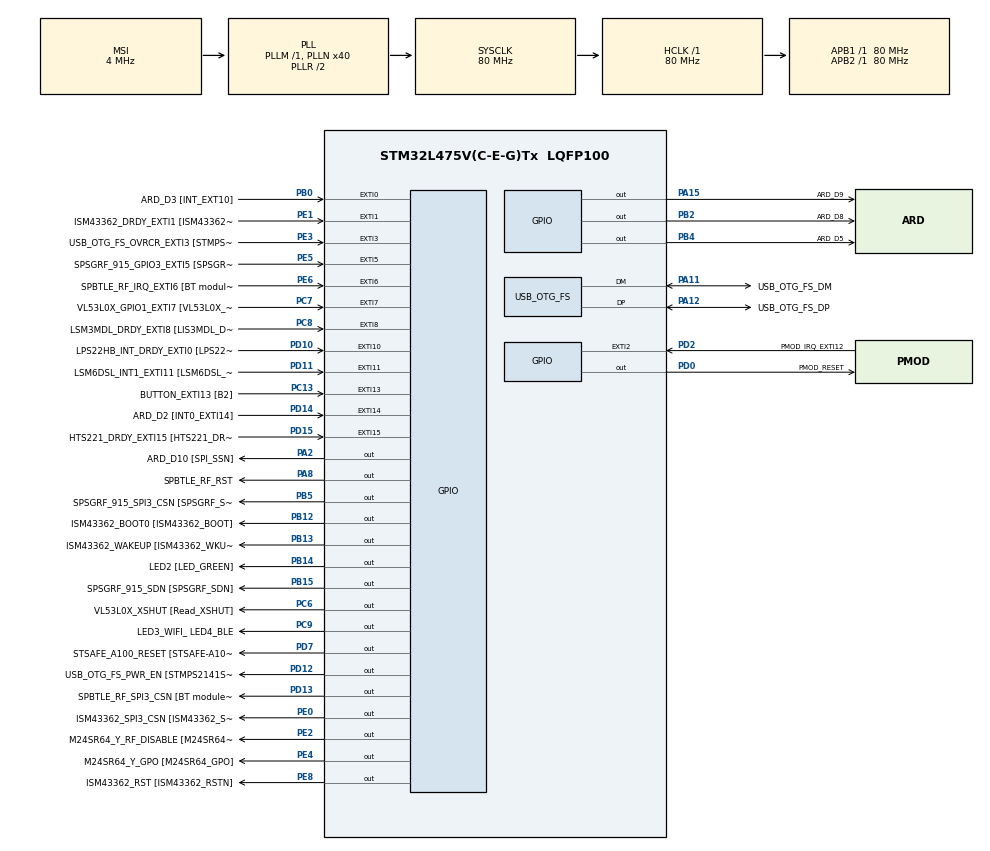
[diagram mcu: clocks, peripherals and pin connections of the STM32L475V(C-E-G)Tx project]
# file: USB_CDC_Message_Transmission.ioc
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Mcu.Family=STM32L4
Mcu.Name=STM32L475V(C-E-G)Tx
Mcu.Package=LQFP100
NVIC.EXTI15_10_IRQn=true\:0\:0\:false\:false\:true\:true\:true
NVIC.EXTI9_5_IRQn=true\:0\:0\:false\:false\:true\:true\:true
NVIC.OTG_FS_IRQn=true\:0\:0\:false\:false\:true\:false\:true
NVIC.PriorityGroup=NVIC_PRIORITYGROUP_4
PA0.GPIO_Label=ARD_D1 [UART4_TX]
PA0.Signal=UART4_TX
PA1.GPIO_Label=ARD_D0 [UART4_RX]
PA1.Signal=UART4_RX
PA10.GPIO_Label=USB_OTG_FS_ID
PA10.Signal=USB_OTG_FS_ID
PA11.GPIO_Label=USB_OTG_FS_DM
PA11.Mode=Device_Only
PA11.Signal=USB_OTG_FS_DM
PA12.GPIO_Label=USB_OTG_FS_DP
PA12.Mode=Device_Only
PA12.Signal=USB_OTG_FS_DP
PA13\ (JTMS-SWDIO).GPIO_Label=SYS_JTMS_SWDIO
PA13\ (JTMS-SWDIO).Signal=SYS_JTMS-SWDIO
PA14\ (JTCK-SWCLK).GPIO_Label=SYS_JTCK_SWCLK
PA14\ (JTCK-SWCLK).Signal=SYS_JTCK-SWCLK
PA15\ (JTDI).GPIO_Label=ARD_D9
PA15\ (JTDI).Signal=GPIO_Output
PA2.GPIO_Label=ARD_D10 [SPI_SSN]
PA2.Signal=GPIO_Output
PA3.GPIO_Label=ARD_D4
PA3.Signal=S_TIM2_CH4
PA4.GPIO_Label=ARD_D7
PA4.Signal=ADCx_IN9
PA5.GPIO_Label=ARD_D13 [SPI1_SCK]
PA5.Signal=SPI1_SCK
PA6.GPIO_Label=ARD_D12 [SPI1_MISO]
PA6.Signal=SPI1_MISO
PA7.GPIO_Label=ARD_D11 [SPI1_MOSI]
PA7.Signal=SPI1_MOSI
PA8.GPIO_Label=SPBTLE_RF_RST
PA8.Signal=GPIO_Output
PA9.GPIO_Label=USB_OTG_FS_VBUS [STMPS2141STR_OUT]
PA9.Signal=USB_OTG_FS_VBUS
PB0.GPIO_Label=ARD_D3 [INT_EXT10]
PB0.Signal=GPXTI0
PB1.GPIO_Label=ARD_D6 [ADC1_IN6]
PB1.Signal=ADCx_IN16
PB10.GPIO_Label=INTERNAL_I2C2_SCL [VL53L0X_SCL]
PB10.Signal=I2C2_SCL
PB11.GPIO_Label=INTERNAL_I2C2_SDA [VL53L0X_SDA]
PB11.Signal=I2C2_SDA
PB12.GPIO_Label=ISM43362_BOOT0 [ISM43362_BOOT]
PB12.Signal=GPIO_Output
PB13.GPIO_Label=ISM43362_WAKEUP [ISM43362_WKUP]
PB13.Signal=GPIO_Output
PB14.GPIO_Label=LED2 [LED_GREEN]
PB14.Signal=GPIO_Output
PB15.GPIO_Label=SPSGRF_915_SDN [SPSGRF_SDN]
PB15.Signal=GPIO_Output
PB2.GPIO_Label=ARD_D8
PB2.Signal=GPIO_Output
PB3\ (JTDO-TRACESWO).GPIO_Label=SYS_JTD0_SWO
PB3\ (JTDO-TRACESWO).Signal=SYS_JTDO-SWO
PB4\ (NJTRST).GPIO_Label=ARD_D5
PB4\ (NJTRST).Signal=GPIO_Output
PB5.GPIO_Label=SPSGRF_915_SPI3_CSN [SPSGRF_SPI_CS]
PB5.PinState=GPIO_PIN_SET
PB5.Signal=GPIO_Output
PB6.GPIO_Label=ST_LINK_UART1_TX
PB6.Signal=USART1_TX
PB7.GPIO_Label=ST_LINK_UART1_RX
PB7.Signal=USART1_RX
PB8.GPIO_Label=ARD_D15 [I2C1_SCL]
PB8.Signal=I2C1_SCL
PB9.GPIO_Label=ARD_D14 [I2C1_SDA]
PB9.Signal=I2C1_SDA
PC0.GPIO_Label=ARD_A5 [ADC]
PC0.Signal=ADCx_IN1
PC1.GPIO_Label=ARD_A4 [ADC]
PC1.Signal=ADCx_IN2
PC10.GPIO_Label=INTERNAL_SPI3_SCK [BT module_SPI_SCLK] [ISM43362_SCK]
PC10.Signal=SPI3_SCK
PC11.GPIO_Label=INTERNAL_SPI3_MISO [BT module_SPI_MISO] [ISM43362_MISO]
PC11.Signal=SPI3_MISO
PC12.GPIO_Label=INTERNAL_SPI3_MOSI [BT module_SPI_MOSI] [ISM43362_MOSI]
PC12.Signal=SPI3_MOSI
PC13.GPIO_Label=BUTTON_EXTI13 [B2]
PC13.GPIO_ModeDefaultEXTI=GPIO_MODE_IT_FALLING
PC13.Signal=GPXTI13
PC14-OSC32_IN\ (PC14).Signal=RCC_OSC32_IN
PC15-OSC32_OUT\ (PC15).Signal=RCC_OSC32_OUT
PC2.GPIO_Label=ARD_A3 [ADC]
PC2.Signal=ADCx_IN3
PC3.GPIO_Label=ARD_A2 [ADC]
PC3.Signal=ADCx_IN4
PC4.GPIO_Label=ARD_A1 [ADC]
PC4.Signal=ADCx_IN13
PC5.GPIO_Label=ARD_A0 [ADC]
PC5.Signal=ADCx_IN14
PC6.GPIO_Label=VL53L0X_XSHUT [Read_XSHUT]
PC6.Signal=GPIO_Output
PC7.GPIO_Label=VL53L0X_GPIO1_EXTI7 [VL53L0X_GPIO1]
PC7.Signal=GPXTI7
PC8.GPIO_Label=LSM3MDL_DRDY_EXTI8 [LIS3MDL_DRDY]
PC8.Signal=GPXTI8
PC9.GPIO_Label=LED3_WIFI_ LED4_BLE
PC9.Signal=GPIO_Output
PD0.GPIO_Label=PMOD_RESET
PD0.Signal=GPIO_Output
PD1.GPIO_Label=PMOD_SPI2_SCK
PD1.Signal=SPI2_SCK
PD10.GPIO_Label=LPS22HB_INT_DRDY_EXTI0 [LPS22HB_INT_DRDY] 
PD10.Signal=GPXTI10
PD11.GPIO_Label=LSM6DSL_INT1_EXTI11 [LSM6DSL_INT1]
PD11.Signal=GPXTI11
PD12.GPIO_Label=USB_OTG_FS_PWR_EN [STMPS2141STR_EN]
PD12.Signal=GPIO_Output
PD13.GPIO_Label=SPBTLE_RF_SPI3_CSN [BT module_SPI_CS]
PD13.PinState=GPIO_PIN_SET
PD13.Signal=GPIO_Output
PD14.GPIO_Label=ARD_D2 [INT0_EXTI14]
PD14.Signal=GPXTI14
PD15.GPIO_Label=HTS221_DRDY_EXTI15 [HTS221_DRDY]
PD15.Signal=GPXTI15
PD2.GPIO_Label=PMOD_IRQ_EXTI12
PD2.Signal=GPXTI2
PD3.GPIO_Label=PMOD_UART2_CTS
PD3.Signal=USART2_CTS
PD4.GPIO_Label=PMOD_UART2_RTS
PD4.Signal=USART2_RTS
PD5.GPIO_Label=PMOD_UART2_TX
PD5.Signal=USART2_TX
PD6.GPIO_Label=PMOD_UART2_RX
PD6.Signal=USART2_RX
PD7.GPIO_Label=STSAFE_A100_RESET [STSAFE-A100_RESET]
PD7.Signal=GPIO_Output
PD8.GPIO_Label=INTERNAL_UART3_TX [ISM43362_RX]
PD8.Signal=USART3_TX
PD9.GPIO_Label=INTERNAL_UART3_RX [ISM43362_TX]
PD9.Signal=USART3_RX
PE0.GPIO_Label=ISM43362_SPI3_CSN [ISM43362_SSN]
PE0.PinState=GPIO_PIN_SET
PE0.Signal=GPIO_Output
PE1.GPIO_Label=ISM43362_DRDY_EXTI1 [ISM43362_DATARDY]
PE1.Signal=GPXTI1
PE10.GPIO_Label=QUADSPI_CLK [MX25R6435F_SCLK]
PE10.Signal=QUADSPI_CLK
PE11.GPIO_Label=QUADSPI_NCS [MX25R6435F_SCLK]
PE11.Signal=QUADSPI_NCS
PE12.GPIO_Label=OQUADSPI_BK1_IO0 [MX25R6435F_IO0]
PE12.Signal=QUADSPI_BK1_IO0
PE13.GPIO_Label=QUADSPI_BK1_IO1 [MX25R6435F_IO1]
PE13.Signal=QUADSPI_BK1_IO1
PE14.GPIO_Label=QUAD_SPI_BK1_IO2 [MX25R6435F_IO2]
PE14.Signal=QUADSPI_BK1_IO2
PE15.GPIO_Label=QUAD_SPI_BK1_IO3 [MX25R6435F_IO3]
PE15.Signal=QUADSPI_BK1_IO3
PE2.GPIO_Label=M24SR64_Y_RF_DISABLE [M24SR64_RFDIS]
PE2.Signal=GPIO_Output
PE3.GPIO_Label=USB_OTG_FS_OVRCR_EXTI3 [STMPS2141STR_FAULT]
PE3.Signal=GPXTI3
PE4.GPIO_Label=M24SR64_Y_GPO [M24SR64_GPO]
PE4.Signal=GPIO_Output
PE5.GPIO_Label=SPSGRF_915_GPIO3_EXTI5 [SPSGRF_GPIO_3]
PE5.Signal=GPXTI5
PE6.GPIO_Label=SPBTLE_RF_IRQ_EXTI6 [BT module_SPI_IRQ]
PE6.Signal=GPXTI6
PE7.GPIO_Label=DFSDM1_DATIN2 [MP34DT01_DOUT]
PE7.Signal=S_DATAIN2DFSDM1
PE8.GPIO_Label=ISM43362_RST [ISM43362_RSTN]
PE8.Signal=GPIO_Output
PE9.GPIO_Label=DFSDM1_CKOUT [MP34DT01_CLK]
PE9.Signal=S_CKOUTDFSDM1
ProjectManager.HeapSize=0x200
ProjectManager.StackSize=0x400
ProjectManager.TargetToolchain=STM32CubeIDE
RCC.ADCFreq_Value=48000000
RCC.AHBFreq_Value=80000000
RCC.APB1Freq_Value=80000000
RCC.APB1TimFreq_Value=80000000
RCC.APB2Freq_Value=80000000
RCC.APB2TimFreq_Value=80000000
RCC.CortexFreq_Value=80000000
RCC.HCLKFreq_Value=80000000
RCC.HSE_VALUE=8000000
RCC.HSI_VALUE=16000000
RCC.LSE_VALUE=32768
RCC.MSI_VALUE=4000000
RCC.PLLN=40
RCC.PLLSAI1N=24
RCC.SYSCLKFreq_VALUE=80000000
RCC.SYSCLKSource=RCC_SYSCLKSOURCE_PLLCLK
RCC.USBFreq_Value=48000000
RCC.VCOOutputFreq_Value=160000000
SH.ADCx_IN1.0=ADC1_IN1
SH.ADCx_IN13.0=ADC1_IN13
SH.ADCx_IN14.0=ADC1_IN14
SH.ADCx_IN16.0=ADC1_IN16
SH.ADCx_IN2.0=ADC1_IN2
SH.ADCx_IN3.0=ADC1_IN3
SH.ADCx_IN4.0=ADC1_IN4
SH.ADCx_IN9.0=ADC1_IN9
SH.S_CKOUTDFSDM1.0=DFSDM1_CKOUT
SH.S_DATAIN2DFSDM1.0=DFSDM1_DATIN2
SH.S_TIM2_CH4.0=TIM2_CH4
USB_DEVICE.CLASS_NAME_FS=CDC
USB_DEVICE.VirtualMode=Cdc
USB_DEVICE.VirtualModeFS=Cdc_FS
USB_OTG_FS.VirtualMode=Device_Only
VP_USB_DEVICE_VS_USB_DEVICE_CDC_FS.Mode=CDC_FS
board=B-L475E-IOT01A1

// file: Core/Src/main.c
/* USER CODE BEGIN Header */
/**
  ******************************************************************************
  * @file           : main.c
  * @brief          : Main program body
  ******************************************************************************
  * @attention
  *
  * Copyright (c) 2020-2021 STMicroelectronics.
  * All rights reserved.
  * This software is licensed under terms that can be found in the LICENSE file in
  * the root directory of this software component.
  * If no LICENSE file comes with this software, it is provided AS-IS.
  *
  ******************************************************************************
  */
/* USER CODE END Header */
#include "main.h"
#include "usb_device.h"

/* USER CODE BEGIN Includes */
#include "usbd_cdc_if.h"
#include "ai_logging.h"
/* USER CODE END Includes */

/* USER CODE BEGIN PD */
#define SEND_BUFFER_SIZE 200
#define RECEIVE_BUFFER_SIZE 200
/* USER CODE END PD */

/* USER CODE BEGIN PV */
uint8_t ai_logging_send_buffer[SEND_BUFFER_SIZE];
uint8_t ai_logging_receive_buffer[RECEIVE_BUFFER_SIZE];
ai_logging_device_t device;
/* USER CODE END PV */

void SystemClock_Config(void);
static void MX_GPIO_Init(void);
/* USER CODE BEGIN PFP */
void set_led_1_state(uint8_t state);
/* USER CODE END PFP */

int main(void)
{

  /* MCU Configuration--------------------------------------------------------*/

  /* Reset of all peripherals, Initializes the Flash interface and the Systick. */
  HAL_Init();

  /* Configure the system clock */
  SystemClock_Config();

  /* Initialize all configured peripherals */
  MX_GPIO_Init();
  MX_USB_DEVICE_Init();
  /* USER CODE BEGIN 2 */

  ai_logging_init(&device);
  ai_logging_init_send(&device, USB_CDC_Send_Wrapper_Function, ai_logging_send_buffer, SEND_BUFFER_SIZE);
  ai_logging_init_receive(&device, NULL, 0, ai_logging_receive_buffer, RECEIVE_BUFFER_SIZE);
  /* USER CODE END 2 */

  /* Infinite loop */
  /* USER CODE BEGIN WHILE */

  ai_logging_packet_t packet;
  ai_logging_clear_packet(&packet);
  while (1)
  {

    if(ai_logging_check_for_received_packet(&device, &packet) > 0)
    {
      if(packet.message_size > 0)
      {
        if(strncmp(packet.message, "L1_ON", packet.message_size) == 0)
        {
          set_led_1_state(1);
          ai_logging_clear_packet(&packet);
          packet.message = "Green LED is ON";
          packet.message_size = strlen(packet.message);
          ai_logging_send_packet(&device, &packet);
        } else if(strncmp(packet.message, "L1_OFF", packet.message_size) == 0) {
          set_led_1_state(0);
          ai_logging_clear_packet(&packet);
          packet.message = "Green LED is OFF";
          packet.message_size = strlen(packet.message);
          ai_logging_send_packet(&device, &packet);
        } else {
          ai_logging_clear_packet(&packet);
          packet.message = "Unknow command";
          packet.message_size = strlen(packet.message);
          ai_logging_send_packet(&device, &packet);
        }
      }

      //ai_logging_prepare_next_packet(&device);
      ai_logging_clear_packet(&packet);
    }

    /* USER CODE END WHILE */

  }
}

void SystemClock_Config(void)
{
  RCC_OscInitTypeDef RCC_OscInitStruct = {0};
  RCC_ClkInitTypeDef RCC_ClkInitStruct = {0};
  RCC_PeriphCLKInitTypeDef PeriphClkInit = {0};

  /** Initializes the RCC Oscillators according to the specified parameters
  * in the RCC_OscInitTypeDef structure.
  */
  RCC_OscInitStruct.OscillatorType = RCC_OSCILLATORTYPE_MSI;
  RCC_OscInitStruct.MSIState = RCC_MSI_ON;
  RCC_OscInitStruct.MSICalibrationValue = 0;
  RCC_OscInitStruct.MSIClockRange = RCC_MSIRANGE_6;
  RCC_OscInitStruct.PLL.PLLState = RCC_PLL_ON;
  RCC_OscInitStruct.PLL.PLLSource = RCC_PLLSOURCE_MSI;
  RCC_OscInitStruct.PLL.PLLM = 1;
  RCC_OscInitStruct.PLL.PLLN = 40;
  RCC_OscInitStruct.PLL.PLLP = RCC_PLLP_DIV7;
  RCC_OscInitStruct.PLL.PLLQ = RCC_PLLQ_DIV2;
  RCC_OscInitStruct.PLL.PLLR = RCC_PLLR_DIV2;
  if (HAL_RCC_OscConfig(&RCC_OscInitStruct) != HAL_OK)
  {
    Error_Handler();
  }
  /** Initializes the CPU, AHB and APB buses clocks
  */
  RCC_ClkInitStruct.ClockType = RCC_CLOCKTYPE_HCLK|RCC_CLOCKTYPE_SYSCLK
                              |RCC_CLOCKTYPE_PCLK1|RCC_CLOCKTYPE_PCLK2;
  RCC_ClkInitStruct.SYSCLKSource = RCC_SYSCLKSOURCE_PLLCLK;
  RCC_ClkInitStruct.AHBCLKDivider = RCC_SYSCLK_DIV1;
  RCC_ClkInitStruct.APB1CLKDivider = RCC_HCLK_DIV1;
  RCC_ClkInitStruct.APB2CLKDivider = RCC_HCLK_DIV1;

  if (HAL_RCC_ClockConfig(&RCC_ClkInitStruct, FLASH_LATENCY_4) != HAL_OK)
  {
    Error_Handler();
  }
  PeriphClkInit.PeriphClockSelection = RCC_PERIPHCLK_USB;
  PeriphClkInit.UsbClockSelection = RCC_USBCLKSOURCE_PLLSAI1;
  PeriphClkInit.PLLSAI1.PLLSAI1Source = RCC_PLLSOURCE_MSI;
  PeriphClkInit.PLLSAI1.PLLSAI1M = 1;
  PeriphClkInit.PLLSAI1.PLLSAI1N = 24;
  PeriphClkInit.PLLSAI1.PLLSAI1P = RCC_PLLP_DIV7;
  PeriphClkInit.PLLSAI1.PLLSAI1Q = RCC_PLLQ_DIV2;
  PeriphClkInit.PLLSAI1.PLLSAI1R = RCC_PLLR_DIV2;
  PeriphClkInit.PLLSAI1.PLLSAI1ClockOut = RCC_PLLSAI1_48M2CLK;
  if (HAL_RCCEx_PeriphCLKConfig(&PeriphClkInit) != HAL_OK)
  {
    Error_Handler();
  }
  /** Configure the main internal regulator output voltage
  */
  if (HAL_PWREx_ControlVoltageScaling(PWR_REGULATOR_VOLTAGE_SCALE1) != HAL_OK)
  {
    Error_Handler();
  }
}

static void MX_GPIO_Init(void)
{
  GPIO_InitTypeDef GPIO_InitStruct = {0};

  /* GPIO Ports Clock Enable */
  __HAL_RCC_GPIOE_CLK_ENABLE();
  __HAL_RCC_GPIOC_CLK_ENABLE();
  __HAL_RCC_GPIOA_CLK_ENABLE();
  __HAL_RCC_GPIOB_CLK_ENABLE();
  __HAL_RCC_GPIOD_CLK_ENABLE();

  /*Configure GPIO pin Output Level */
  HAL_GPIO_WritePin(GPIOE, M24SR64_Y_RF_DISABLE_Pin|M24SR64_Y_GPO_Pin|ISM43362_RST_Pin, GPIO_PIN_RESET);

  /*Configure GPIO pin Output Level */
  HAL_GPIO_WritePin(GPIOA, ARD_D10_Pin|SPBTLE_RF_RST_Pin|ARD_D9_Pin, GPIO_PIN_RESET);

  /*Configure GPIO pin Output Level */
  HAL_GPIO_WritePin(GPIOB, ARD_D8_Pin|ISM43362_BOOT0_Pin|ISM43362_WAKEUP_Pin|LED2_Pin
                          |SPSGRF_915_SDN_Pin|ARD_D5_Pin, GPIO_PIN_RESET);

  /*Configure GPIO pin Output Level */
  HAL_GPIO_WritePin(GPIOD, USB_OTG_FS_PWR_EN_Pin|PMOD_RESET_Pin|STSAFE_A100_RESET_Pin, GPIO_PIN_RESET);

  /*Configure GPIO pin Output Level */
  HAL_GPIO_WritePin(SPBTLE_RF_SPI3_CSN_GPIO_Port, SPBTLE_RF_SPI3_CSN_Pin, GPIO_PIN_SET);

  /*Configure GPIO pin Output Level */
  HAL_GPIO_WritePin(GPIOC, VL53L0X_XSHUT_Pin|LED3_WIFI__LED4_BLE_Pin, GPIO_PIN_RESET);

  /*Configure GPIO pin Output Level */
  HAL_GPIO_WritePin(SPSGRF_915_SPI3_CSN_GPIO_Port, SPSGRF_915_SPI3_CSN_Pin, GPIO_PIN_SET);

  /*Configure GPIO pin Output Level */
  HAL_GPIO_WritePin(ISM43362_SPI3_CSN_GPIO_Port, ISM43362_SPI3_CSN_Pin, GPIO_PIN_SET);

  /*Configure GPIO pins : M24SR64_Y_RF_DISABLE_Pin M24SR64_Y_GPO_Pin ISM43362_RST_Pin ISM43362_SPI3_CSN_Pin */
  GPIO_InitStruct.Pin = M24SR64_Y_RF_DISABLE_Pin|M24SR64_Y_GPO_Pin|ISM43362_RST_Pin|ISM43362_SPI3_CSN_Pin;
  GPIO_InitStruct.Mode = GPIO_MODE_OUTPUT_PP;
  GPIO_InitStruct.Pull = GPIO_NOPULL;
  GPIO_InitStruct.Speed = GPIO_SPEED_FREQ_LOW;
  HAL_GPIO_Init(GPIOE, &GPIO_InitStruct);

  /*Configure GPIO pins : USB_OTG_FS_OVRCR_EXTI3_Pin SPSGRF_915_GPIO3_EXTI5_Pin SPBTLE_RF_IRQ_EXTI6_Pin ISM43362_DRDY_EXTI1_Pin */
  GPIO_InitStruct.Pin = USB_OTG_FS_OVRCR_EXTI3_Pin|SPSGRF_915_GPIO3_EXTI5_Pin|SPBTLE_RF_IRQ_EXTI6_Pin|ISM43362_DRDY_EXTI1_Pin;
  GPIO_InitStruct.Mode = GPIO_MODE_IT_RISING;
  GPIO_InitStruct.Pull = GPIO_NOPULL;
  HAL_GPIO_Init(GPIOE, &GPIO_InitStruct);

  /*Configure GPIO pin : BUTTON_EXTI13_Pin */
  GPIO_InitStruct.Pin = BUTTON_EXTI13_Pin;
  GPIO_InitStruct.Mode = GPIO_MODE_IT_FALLING;
  GPIO_InitStruct.Pull = GPIO_NOPULL;
  HAL_GPIO_Init(BUTTON_EXTI13_GPIO_Port, &GPIO_InitStruct);

  /*Configure GPIO pins : ARD_A5_Pin ARD_A4_Pin ARD_A3_Pin ARD_A2_Pin
                           ARD_A1_Pin ARD_A0_Pin */
  GPIO_InitStruct.Pin = ARD_A5_Pin|ARD_A4_Pin|ARD_A3_Pin|ARD_A2_Pin
                          |ARD_A1_Pin|ARD_A0_Pin;
  GPIO_InitStruct.Mode = GPIO_MODE_ANALOG_ADC_CONTROL;
  GPIO_InitStruct.Pull = GPIO_NOPULL;
  HAL_GPIO_Init(GPIOC, &GPIO_InitStruct);

  /*Configure GPIO pins : ARD_D1_Pin ARD_D0_Pin */
  GPIO_InitStruct.Pin = ARD_D1_Pin|ARD_D0_Pin;
  GPIO_InitStruct.Mode = GPIO_MODE_AF_PP;
  GPIO_InitStruct.Pull = GPIO_NOPULL;
  GPIO_InitStruct.Speed = GPIO_SPEED_FREQ_VERY_HIGH;
  GPIO_InitStruct.Alternate = GPIO_AF8_UART4;
  HAL_GPIO_Init(GPIOA, &GPIO_InitStruct);

  /*Configure GPIO pins : ARD_D10_Pin SPBTLE_RF_RST_Pin ARD_D9_Pin */
  GPIO_InitStruct.Pin = ARD_D10_Pin|SPBTLE_RF_RST_Pin|ARD_D9_Pin;
  GPIO_InitStruct.Mode = GPIO_MODE_OUTPUT_PP;
  GPIO_InitStruct.Pull = GPIO_NOPULL;
  GPIO_InitStruct.Speed = GPIO_SPEED_FREQ_LOW;
  HAL_GPIO_Init(GPIOA, &GPIO_InitStruct);

  /*Configure GPIO pin : ARD_D4_Pin */
  GPIO_InitStruct.Pin = ARD_D4_Pin;
  GPIO_InitStruct.Mode = GPIO_MODE_AF_PP;
  GPIO_InitStruct.Pull = GPIO_NOPULL;
  GPIO_InitStruct.Speed = GPIO_SPEED_FREQ_LOW;
  GPIO_InitStruct.Alternate = GPIO_AF1_TIM2;
  HAL_GPIO_Init(ARD_D4_GPIO_Port, &GPIO_InitStruct);

  /*Configure GPIO pin : ARD_D7_Pin */
  GPIO_InitStruct.Pin = ARD_D7_Pin;
  GPIO_InitStruct.Mode = GPIO_MODE_ANALOG_ADC_CONTROL;
  GPIO_InitStruct.Pull = GPIO_NOPULL;
  HAL_GPIO_Init(ARD_D7_GPIO_Port, &GPIO_InitStruct);

  /*Configure GPIO pins : ARD_D13_Pin ARD_D12_Pin ARD_D11_Pin */
  GPIO_InitStruct.Pin = ARD_D13_Pin|ARD_D12_Pin|ARD_D11_Pin;
  GPIO_InitStruct.Mode = GPIO_MODE_AF_PP;
  GPIO_InitStruct.Pull = GPIO_NOPULL;
  GPIO_InitStruct.Speed = GPIO_SPEED_FREQ_VERY_HIGH;
  GPIO_InitStruct.Alternate = GPIO_AF5_SPI1;
  HAL_GPIO_Init(GPIOA, &GPIO_InitStruct);

  /*Configure GPIO pin : ARD_D3_Pin */
  GPIO_InitStruct.Pin = ARD_D3_Pin;
  GPIO_InitStruct.Mode = GPIO_MODE_IT_RISING;
  GPIO_InitStruct.Pull = GPIO_NOPULL;
  HAL_GPIO_Init(ARD_D3_GPIO_Port, &GPIO_InitStruct);

  /*Configure GPIO pin : ARD_D6_Pin */
  GPIO_InitStruct.Pin = ARD_D6_Pin;
  GPIO_InitStruct.Mode = GPIO_MODE_ANALOG_ADC_CONTROL;
  GPIO_InitStruct.Pull = GPIO_NOPULL;
  HAL_GPIO_Init(ARD_D6_GPIO_Port, &GPIO_InitStruct);

  /*Configure GPIO pins : ARD_D8_Pin ISM43362_BOOT0_Pin ISM43362_WAKEUP_Pin LED2_Pin
                           SPSGRF_915_SDN_Pin ARD_D5_Pin SPSGRF_915_SPI3_CSN_Pin */
  GPIO_InitStruct.Pin = ARD_D8_Pin|ISM43362_BOOT0_Pin|ISM43362_WAKEUP_Pin|LED2_Pin
                          |SPSGRF_915_SDN_Pin|ARD_D5_Pin|SPSGRF_915_SPI3_CSN_Pin;
  GPIO_InitStruct.Mode = GPIO_MODE_OUTPUT_PP;
  GPIO_InitStruct.Pull = GPIO_NOPULL;
  GPIO_InitStruct.Speed = GPIO_SPEED_FREQ_LOW;
  HAL_GPIO_Init(GPIOB, &GPIO_InitStruct);

  /*Configure GPIO pins : DFSDM1_DATIN2_Pin DFSDM1_CKOUT_Pin */
  GPIO_InitStruct.Pin = DFSDM1_DATIN2_Pin|DFSDM1_CKOUT_Pin;
  GPIO_InitStruct.Mode = GPIO_MODE_AF_PP;
  GPIO_InitStruct.Pull = GPIO_NOPULL;
  GPIO_InitStruct.Speed = GPIO_SPEED_FREQ_LOW;
  GPIO_InitStruct.Alternate = GPIO_AF6_DFSDM1;
  HAL_GPIO_Init(GPIOE, &GPIO_InitStruct);

  /*Configure GPIO pins : QUADSPI_CLK_Pin QUADSPI_NCS_Pin OQUADSPI_BK1_IO0_Pin QUADSPI_BK1_IO1_Pin
                           QUAD_SPI_BK1_IO2_Pin QUAD_SPI_BK1_IO3_Pin */
  GPIO_InitStruct.Pin = QUADSPI_CLK_Pin|QUADSPI_NCS_Pin|OQUADSPI_BK1_IO0_Pin|QUADSPI_BK1_IO1_Pin
                          |QUAD_SPI_BK1_IO2_Pin|QUAD_SPI_BK1_IO3_Pin;
  GPIO_InitStruct.Mode = GPIO_MODE_AF_PP;
  GPIO_InitStruct.Pull = GPIO_NOPULL;
  GPIO_InitStruct.Speed = GPIO_SPEED_FREQ_VERY_HIGH;
  GPIO_InitStruct.Alternate = GPIO_AF10_QUADSPI;
  HAL_GPIO_Init(GPIOE, &GPIO_InitStruct);

  /*Configure GPIO pins : INTERNAL_I2C2_SCL_Pin INTERNAL_I2C2_SDA_Pin */
  GPIO_InitStruct.Pin = INTERNAL_I2C2_SCL_Pin|INTERNAL_I2C2_SDA_Pin;
  GPIO_InitStruct.Mode = GPIO_MODE_AF_OD;
  GPIO_InitStruct.Pull = GPIO_PULLUP;
  GPIO_InitStruct.Speed = GPIO_SPEED_FREQ_VERY_HIGH;
  GPIO_InitStruct.Alternate = GPIO_AF4_I2C2;
  HAL_GPIO_Init(GPIOB, &GPIO_InitStruct);

  /*Configure GPIO pins : INTERNAL_UART3_TX_Pin INTERNAL_UART3_RX_Pin */
  GPIO_InitStruct.Pin = INTERNAL_UART3_TX_Pin|INTERNAL_UART3_RX_Pin;
  GPIO_InitStruct.Mode = GPIO_MODE_AF_PP;
  GPIO_InitStruct.Pull = GPIO_NOPULL;
  GPIO_InitStruct.Speed = GPIO_SPEED_FREQ_VERY_HIGH;
  GPIO_InitStruct.Alternate = GPIO_AF7_USART3;
  HAL_GPIO_Init(GPIOD, &GPIO_InitStruct);

  /*Configure GPIO pins : LPS22HB_INT_DRDY_EXTI0_Pin LSM6DSL_INT1_EXTI11_Pin ARD_D2_Pin HTS221_DRDY_EXTI15_Pin
                           PMOD_IRQ_EXTI12_Pin */
  GPIO_InitStruct.Pin = LPS22HB_INT_DRDY_EXTI0_Pin|LSM6DSL_INT1_EXTI11_Pin|ARD_D2_Pin|HTS221_DRDY_EXTI15_Pin
                          |PMOD_IRQ_EXTI12_Pin;
  GPIO_InitStruct.Mode = GPIO_MODE_IT_RISING;
  GPIO_InitStruct.Pull = GPIO_NOPULL;
  HAL_GPIO_Init(GPIOD, &GPIO_InitStruct);

  /*Configure GPIO pins : USB_OTG_FS_PWR_EN_Pin SPBTLE_RF_SPI3_CSN_Pin PMOD_RESET_Pin STSAFE_A100_RESET_Pin */
  GPIO_InitStruct.Pin = USB_OTG_FS_PWR_EN_Pin|SPBTLE_RF_SPI3_CSN_Pin|PMOD_RESET_Pin|STSAFE_A100_RESET_Pin;
  GPIO_InitStruct.Mode = GPIO_MODE_OUTPUT_PP;
  GPIO_InitStruct.Pull = GPIO_NOPULL;
  GPIO_InitStruct.Speed = GPIO_SPEED_FREQ_LOW;
  HAL_GPIO_Init(GPIOD, &GPIO_InitStruct);

  /*Configure GPIO pins : VL53L0X_XSHUT_Pin LED3_WIFI__LED4_BLE_Pin */
  GPIO_InitStruct.Pin = VL53L0X_XSHUT_Pin|LED3_WIFI__LED4_BLE_Pin;
  GPIO_InitStruct.Mode = GPIO_MODE_OUTPUT_PP;
  GPIO_InitStruct.Pull = GPIO_NOPULL;
  GPIO_InitStruct.Speed = GPIO_SPEED_FREQ_LOW;
  HAL_GPIO_Init(GPIOC, &GPIO_InitStruct);

  /*Configure GPIO pins : VL53L0X_GPIO1_EXTI7_Pin LSM3MDL_DRDY_EXTI8_Pin */
  GPIO_InitStruct.Pin = VL53L0X_GPIO1_EXTI7_Pin|LSM3MDL_DRDY_EXTI8_Pin;
  GPIO_InitStruct.Mode = GPIO_MODE_IT_RISING;
  GPIO_InitStruct.Pull = GPIO_NOPULL;
  HAL_GPIO_Init(GPIOC, &GPIO_InitStruct);

  /*Configure GPIO pins : INTERNAL_SPI3_SCK_Pin INTERNAL_SPI3_MISO_Pin INTERNAL_SPI3_MOSI_Pin */
  GPIO_InitStruct.Pin = INTERNAL_SPI3_SCK_Pin|INTERNAL_SPI3_MISO_Pin|INTERNAL_SPI3_MOSI_Pin;
  GPIO_InitStruct.Mode = GPIO_MODE_AF_PP;
  GPIO_InitStruct.Pull = GPIO_NOPULL;
  GPIO_InitStruct.Speed = GPIO_SPEED_FREQ_VERY_HIGH;
  GPIO_InitStruct.Alternate = GPIO_AF6_SPI3;
  HAL_GPIO_Init(GPIOC, &GPIO_InitStruct);

  /*Configure GPIO pin : PMOD_SPI2_SCK_Pin */
  GPIO_InitStruct.Pin = PMOD_SPI2_SCK_Pin;
  GPIO_InitStruct.Mode = GPIO_MODE_AF_PP;
  GPIO_InitStruct.Pull = GPIO_NOPULL;
  GPIO_InitStruct.Speed = GPIO_SPEED_FREQ_VERY_HIGH;
  GPIO_InitStruct.Alternate = GPIO_AF5_SPI2;
  HAL_GPIO_Init(PMOD_SPI2_SCK_GPIO_Port, &GPIO_InitStruct);

  /*Configure GPIO pins : PMOD_UART2_CTS_Pin PMOD_UART2_RTS_Pin PMOD_UART2_TX_Pin PMOD_UART2_RX_Pin */
  GPIO_InitStruct.Pin = PMOD_UART2_CTS_Pin|PMOD_UART2_RTS_Pin|PMOD_UART2_TX_Pin|PMOD_UART2_RX_Pin;
  GPIO_InitStruct.Mode = GPIO_MODE_AF_PP;
  GPIO_InitStruct.Pull = GPIO_NOPULL;
  GPIO_InitStruct.Speed = GPIO_SPEED_FREQ_VERY_HIGH;
  GPIO_InitStruct.Alternate = GPIO_AF7_USART2;
  HAL_GPIO_Init(GPIOD, &GPIO_InitStruct);

  /*Configure GPIO pins : ST_LINK_UART1_TX_Pin ST_LINK_UART1_RX_Pin */
  GPIO_InitStruct.Pin = ST_LINK_UART1_TX_Pin|ST_LINK_UART1_RX_Pin;
  GPIO_InitStruct.Mode = GPIO_MODE_AF_PP;
  GPIO_InitStruct.Pull = GPIO_NOPULL;
  GPIO_InitStruct.Speed = GPIO_SPEED_FREQ_VERY_HIGH;
  GPIO_InitStruct.Alternate = GPIO_AF7_USART1;
  HAL_GPIO_Init(GPIOB, &GPIO_InitStruct);

  /*Configure GPIO pins : ARD_D15_Pin ARD_D14_Pin */
  GPIO_InitStruct.Pin = ARD_D15_Pin|ARD_D14_Pin;
  GPIO_InitStruct.Mode = GPIO_MODE_AF_OD;
  GPIO_InitStruct.Pull = GPIO_PULLUP;
  GPIO_InitStruct.Speed = GPIO_SPEED_FREQ_VERY_HIGH;
  GPIO_InitStruct.Alternate = GPIO_AF4_I2C1;
  HAL_GPIO_Init(GPIOB, &GPIO_InitStruct);

  /* EXTI interrupt init*/
  HAL_NVIC_SetPriority(EXTI9_5_IRQn, 0, 0);
  HAL_NVIC_EnableIRQ(EXTI9_5_IRQn);

  HAL_NVIC_SetPriority(EXTI15_10_IRQn, 0, 0);
  HAL_NVIC_EnableIRQ(EXTI15_10_IRQn);

}

/* USER CODE BEGIN 4 */

void set_led_1_state(uint8_t state)
{
  HAL_GPIO_WritePin(GPIOB, GPIO_PIN_14, state);
}

/* USER CODE END 4 */

void Error_Handler(void)
{
  __disable_irq();
  while (1)
  {
  }
}

/************************ (C) COPYRIGHT STMicroelectronics *****END OF FILE****/
